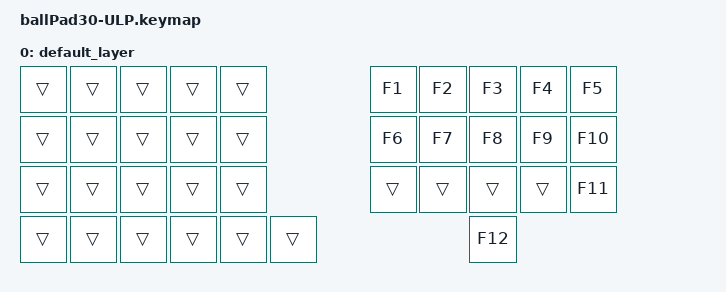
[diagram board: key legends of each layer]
/ {
    keymap {
        compatible = "zmk,keymap";

        default_layer { // Layer 0
            bindings = <
&trans  &trans  &trans  &trans  &trans                    &kp F1  &kp F2  &kp F3  &kp F4  &kp F5
&trans  &trans  &trans  &trans  &trans  &kp F6  &kp F7  &kp F8  &kp F9  &kp F10
&trans  &trans  &trans  &trans  &trans  &trans  &trans  &trans  &trans  &kp F11
&trans  &trans  &trans  &trans  &trans  &trans                          &kp F12
            >;
        };
    };
 };
